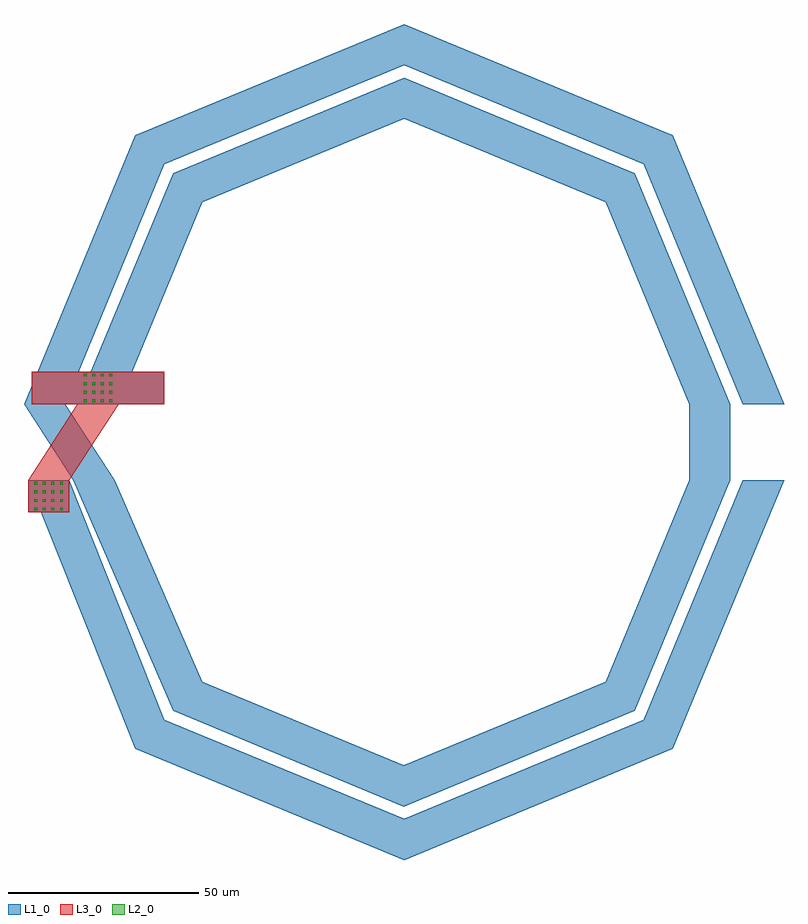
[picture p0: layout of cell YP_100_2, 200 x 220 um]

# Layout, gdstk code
import gdstk
lib = gdstk.Library(unit=1e-6, precision=1e-09)
def R(c, l, rs):  # rectangles x0, y0, x1, y1
    for r in rs: c.add(gdstk.rectangle(r[:2], r[2:], *l))
def A(c, l, x, y, w, h, nx, ny, dx, dy):  # array of equal rectangles
    R(c, l, [(x+i*dx, y+j*dy, x+i*dx+w, y+j*dy+h) for i in range(nx) for j in range(ny)])
def P(c, l, *ps):  # polygons
    for p in ps: c.add(gdstk.Polygon(p, *l))
L1_0 = (1, 0)
L2_0 = (2, 0)
L3_0 = (3, 0)

yp_100_2 = lib.new_cell('YP_100_2')
R(yp_100_2, L1_0, [(101.07,181.5,111.89,190), (275.1,189.99,285.92,209.99), (102.025,210,136.935,218.5)])
P(yp_100_2, L1_0, [(289.17,210),(263.05,273.05),(270.71,280.71),(300,210)],
  [(263.05,273.05),(200,299.17),(200,310),(270.71,280.71)],
  [(136.94,273.05),(129.28,280.71),(200,310),(200,299.17)],
  [(100,210),(129.28,280.71),(136.94,273.05),(110.82,210)],
  [(113,190),(100,210),(110.82,210),(123.82,190)],
  [(139.23,129.23),(113,190),(123.82,190),(146.89,136.89)],
  [(199.99,104.07),(139.23,129.23),(146.89,136.89),(199.99,114.89)],
  [(199.99,104.07),(199.99,114.89),(253.1,136.89),(260.76,129.23)],
  [(260.76,129.23),(253.1,136.89),(275.1,189.99),(285.92,189.99)],
  [(275.1,209.99),(253.1,263.1),(260.76,270.76),(285.92,209.99)],
  [(253.1,263.1),(200,285.1),(200,295.92),(260.76,270.76)],
  [(146.89,263.1),(139.23,270.76),(200,295.92),(200,285.1)],
  [(114.07,210),(139.23,270.76),(146.89,263.1),(124.89,210)],
  [(129.28,119.28),(101.07,190),(111.89,190),(136.94,126.94)],
  [(200,90),(129.28,119.28),(136.94,126.94),(200,100.82)],
  [(200,90),(200,100.82),(263.05,126.94),(270.71,119.28)],
  [(270.71,119.28),(263.05,126.94),(289.17,190),(300,190)])
A(yp_100_2, L2_0, 102.73, 182, 0.75, 0.75, 4, 4, 2.25, 2.25)
A(yp_100_2, L2_0, 115.73, 210.5, 0.75, 0.75, 4, 4, 2.25, 2.25)
R(yp_100_2, L3_0, [(101.07,181.5,111.89,190), (102.025,210,136.935,218.5)])
P(yp_100_2, L3_0, [(101.07,190),(114.07,210),(124.89,210),(111.89,190)])

lib.write_gds('YP_100_2.gds')
